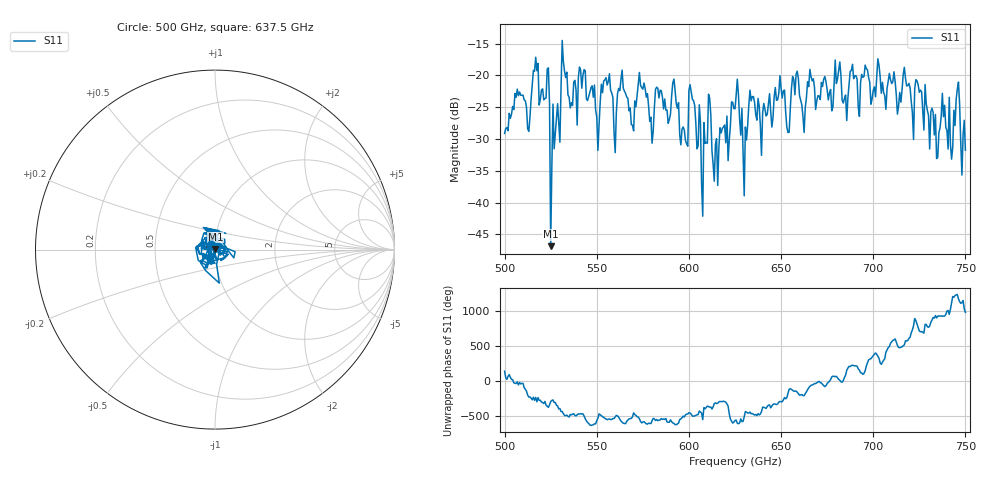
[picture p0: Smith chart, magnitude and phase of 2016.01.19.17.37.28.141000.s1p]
!Created with skrf (http://scikit-rf.org).
# GHz S RI R 50.0
!freq ReS11 ImS11
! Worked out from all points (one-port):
!   401 points, 500 GHz to 750 GHz, reference 50 ohm
!   lowest |S11| = -46.9 dB at 525 GHz (marker M1), VSWR 1.01, Z = 50.2 + j0.39 ohm
!   |S11| at or under -10 dB: start of sweep to end of sweep
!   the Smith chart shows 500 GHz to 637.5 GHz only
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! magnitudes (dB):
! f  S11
! 500 GHz  -29.1
! 513.1 GHz  -28.8
! 516.9 GHz  -17.1
! 523.1 GHz  -19.0
! 525 GHz  -46.9
! 526.2 GHz  -24.5
! 531.2 GHz  -14.5
! 550.6 GHz  -31.8
! 562.5 GHz  -22.4
! 568.8 GHz  -27.7
! 573.8 GHz  -21.5
! 579.4 GHz  -26.6
! 593.8 GHz  -25.2
! 598.1 GHz  -30.2
! 601.2 GHz  -22.6
! 606.2 GHz  -27.4
! 610.6 GHz  -23.0
! 614.4 GHz  -30.9
! 625 GHz  -25.2
! 630.6 GHz  -28.1
! 633.8 GHz  -24.0
! 653.8 GHz  -29.0
! 656.2 GHz  -20.2
! 687.5 GHz  -19.4
! 718.8 GHz  -21.6
! 734.4 GHz  -33.1
! 745.6 GHz  -22.1
! 750 GHz  -31.8
